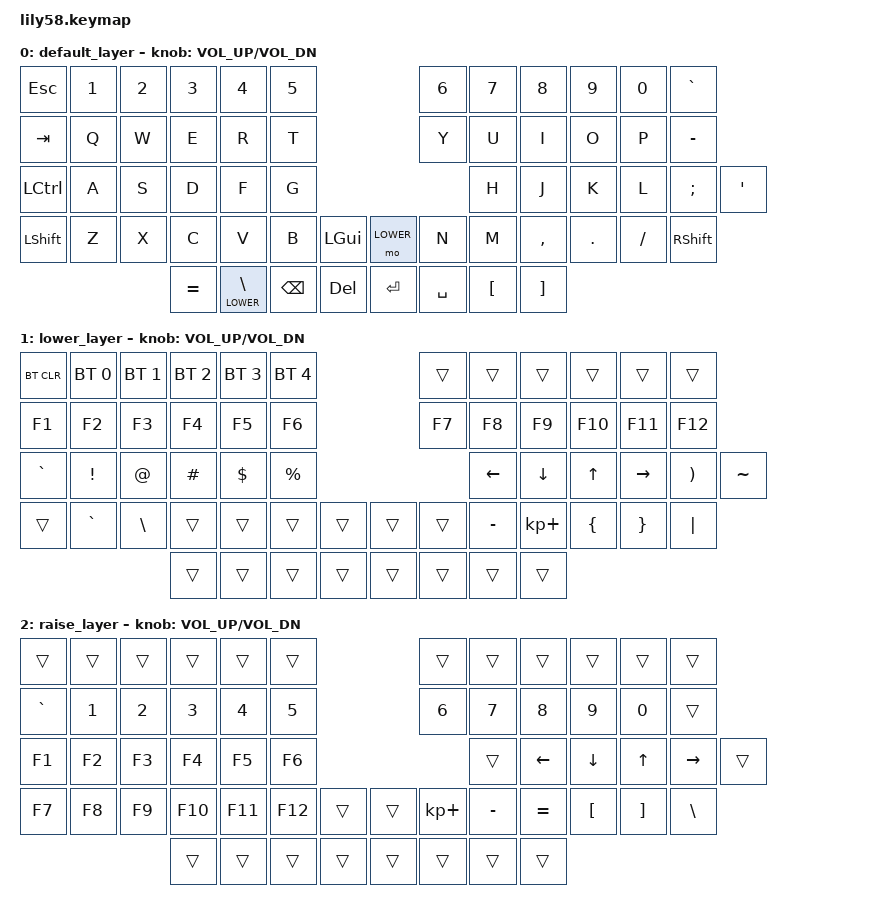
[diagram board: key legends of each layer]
/*
 * Copyright (c) 2020 The ZMK Contributors
 *
 * SPDX-License-Identifier: MIT
 */

#include <behaviors.dtsi>
#include <dt-bindings/zmk/keys.h>
#include <dt-bindings/zmk/bt.h>
#include <dt-bindings/zmk/ext_power.h>

#define DEFAULT 0
#define LOWER   1
#define RAISE   2

/ {
    keymap {
        compatible = "zmk,keymap";

        default_layer {
// ------------------------------------------------------------------------------------------------------------
// |  ESC  |  1  |  2  |  3   |  4   |  5   |                   |  6   |  7    |  8    |  9   |   0   |   `   |
// |  TAB  |  Q  |  W  |  E   |  R   |  T   |                   |  Y   |  U    |  I    |  O   |   P   |   -   |
// |  CTRL |  A  |  S  |  D   |  F   |  G   |                   |  H   |  J    |  K    |  L   |   ;   |   '   |
// | SHIFT |  Z  |  X  |  C   |  V   |  B   |  GUI   |  |  FN   |  N   |  M    |  ,    |  .   |   /   | SHIFT |
//                     |  +   | BLSH | BSPC | DEL    |  | RET   | SPC  | "["   | "]"   |
            bindings = <
&kp ESC   &kp N1 &kp N2 &kp N3    &kp N4         &kp N5                             &kp N6     &kp N7   &kp N8    &kp N9  &kp N0   &kp GRAVE
&kp TAB   &kp Q  &kp W  &kp E     &kp R          &kp T                              &kp Y      &kp U    &kp I     &kp O   &kp P    &kp MINUS
&kp LEFT_CONTROL &kp A  &kp S  &kp D     &kp F          &kp G                              &kp H      &kp J    &kp K     &kp L   &kp SEMI &kp SQT
&kp LSHFT &kp Z  &kp X  &kp C     &kp V          &kp B         &kp LGUI   &mo LOWER &kp N      &kp M    &kp COMMA &kp DOT &kp FSLH &kp RSHFT
                        &kp EQUAL &lt LOWER BSLH &kp BACKSPACE &kp DELETE &kp RET   &kp SPACE  &kp LBKT &kp RBKT
            >;

            sensor-bindings = <&inc_dec_kp C_VOL_UP C_VOL_DN>;
        };

        lower_layer {
// ------------------------------------------------------------------------------------------------------------
// | BTCLR | BT1 | BT2 |  BT3 |  BT4 |  BT5 |                   |      |       |       |      |       |       |
// |  F1   |  F2 |  F3 |  F4  |  F5  |  F6  |                   |  F7  |  F8   |  F9   |  F10 |  F11  |  F12  |
// |   `   |  !  |  @  |  #   |  $   |  %   |                   |  ^   |  &    |  *    |  (   |   )   |   ~   |
// |       |     |     |      |      |      |        |  |       |      |  _    |  +    |  {   |   }   |  "|"  |
//                     |      |      |      |        |  |       |      |       |       |
            bindings = <
&bt BT_CLR &bt BT_SEL 0     &bt BT_SEL 1      &bt BT_SEL 2      &bt BT_SEL 3 &bt BT_SEL 4                 &trans    &trans    &trans          &trans    &trans    &trans
&kp F1     &kp F2           &kp F3            &kp F4            &kp F5       &kp F6                       &kp F7    &kp F8    &kp F9          &kp F10   &kp F11   &kp F12
&kp GRAVE  &kp EXCL         &kp AT            &kp HASH          &kp DOLLAR   &kp PRCNT                    &kp LEFT  &kp DOWN  &kp UP          &kp RIGHT &kp RPAR  &kp TILDE
&trans     &kp GRAVE        &kp BSLH          &trans            &trans       &trans    &trans   &trans    &trans    &kp MINUS &kp KP_PLUS     &kp LBRC  &kp RBRC  &kp PIPE
                                              &trans            &trans       &trans    &trans   &trans    &trans    &trans    &trans
            >;

            sensor-bindings = <&inc_dec_kp C_VOL_UP C_VOL_DN>;
        };

        raise_layer {
// ------------------------------------------------------------------------------------------------------------
// |       |     |     |      |      |      |                   |      |       |       |      |       |       |
// |   `   |  1  |  2  |  3   |  4   |  5   |                   |  6   |   7   |   8   |  9   |   0   |       |
// |   F1  |  F2 |  F3 |  F4  |  F5  |  F6  |                   |      |   <-  |   v   |  ^   |  ->   |       |
// |   F7  |  F8 |  F9 |  F10 |  F11 |  F12 |        |  |       |  +   |   -   |   =   |  [   |   ]   |   \   |
//                     |      |      |      |        |  |       |      |       |       |
            bindings = <
&trans    &trans &trans &trans  &trans  &trans                       &trans      &trans    &trans    &trans   &trans    &trans
&kp GRAVE &kp N1 &kp N2 &kp N3  &kp N4  &kp N5                       &kp N6      &kp N7    &kp N8    &kp N9   &kp N0    &trans
&kp F1    &kp F2 &kp F3 &kp F4  &kp F5  &kp F6                       &trans      &kp LEFT  &kp DOWN  &kp UP   &kp RIGHT &trans
&kp F7    &kp F8 &kp F9 &kp F10 &kp F11 &kp F12   &trans   &trans    &kp KP_PLUS &kp MINUS &kp EQUAL &kp LBKT &kp RBKT  &kp BSLH
                        &trans  &trans  &trans    &trans   &trans    &trans      &trans    &trans
            >;

            sensor-bindings = <&inc_dec_kp C_VOL_UP C_VOL_DN>;
        };
    };
};
